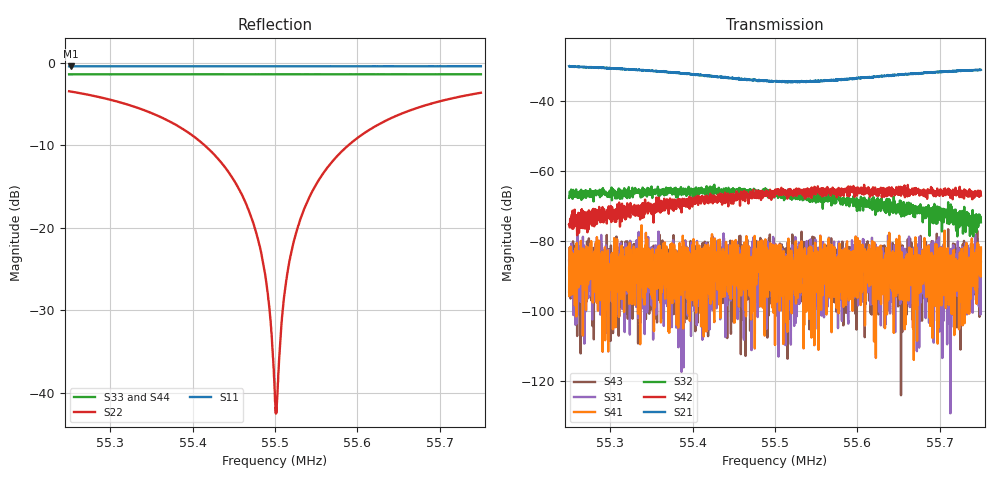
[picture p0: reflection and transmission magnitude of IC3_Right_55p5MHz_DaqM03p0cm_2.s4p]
#  HZ  S  DB  R  50.00
! Rohde & Schwarz Vector Network Analyzer
! Rohde-Schwarz,ZNB8-4Port,1311601044102961,2.82
! Created: UTC 2/13/2019, 12:13:58 PM
! freq[Hz]  db:S11  ang:S11  db:S12  ang:S12  db:S13  ang:S13  db:S14  ang:S14
!  db:S21  ang:S21  db:S22  ang:S22  db:S23  ang:S23  db:S24  ang:S24
!  db:S31  ang:S31  db:S32  ang:S32  db:S33  ang:S33  db:S34  ang:S34
!  db:S41  ang:S41  db:S42  ang:S42  db:S43  ang:S43  db:S44  ang:S44
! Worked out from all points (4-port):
!   2001 points, 55.25 MHz to 55.75 MHz, reference 50 ohm
!   strongest paths, dB at 55.25 MHz, 55.375 MHz, 55.5 MHz, 55.625 MHz, 55.75 MHz:
!     S21: -30.1, -31.9, -34.4, -33.2, -31.2
!     S42: -75.3, -69.5, -65.7, -65.2, -67.1
!     S32: -67.7, -66.3, -66.0, -68.6, -74.7
!     S41: -87.7, -92.4, -109.7, -90.8, -81.9
!     S31: -94.5, -90.4, -92.7, -86.7, -86.0
!     S43: -85.7, -90.9, -90.7, -92.7, -82.5
!   lowest |S11| = -0.5 dB at 55.2518 MHz (marker M1), VSWR 38.26, Z = 2.32 + j43.9 ohm
!   |S11| at or under -10 dB: nowhere
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5.525e7  -0.45 97.4  -30.12 68.9  -87.87 8.4  -88.02 -61.4
         -30.12 69.1  -3.46 -152.1  -66.32 -166.9  -77.91 -5.6
         -94.55 38.4  -67.72 -167.2  -1.42 24.8  -97.61 109.8
         -87.71 -74.3  -75.29 -22.2  -85.66 -78.0  -1.43 31.2
5.525175e7  -0.45 97.4  -30.21 68.5  -83.18 166.0  -78.30 66.3
            -30.26 69.3  -3.49 -152.4  -66.83 -174.8  -78.25 -7.5
            -87.37 -82.8  -67.41 -174.3  -1.42 24.7  -82.26 -167.2
            -90.60 -126.4  -75.18 -13.0  -96.47 105.9  -1.43 31.2
5.544525e7  -0.43 93.7  -33.54 61.8  -86.17 -75.9  -94.25 33.0
            -33.45 63.7  -13.48 161.2  -64.82 166.6  -67.09 -43.9
            -82.33 -48.5  -65.81 150.7  -1.40 22.3  -84.15 -0.7
            -84.39 123.5  -67.79 -44.4  -94.19 85.8  -1.42 28.8
5.548375e7  -0.44 93.0  -34.22 68.8  -90.16 39.1  -86.85 87.2
            -34.24 67.3  -23.28 145.7  -65.38 141.8  -66.66 -51.8
            -90.51 156.1  -66.88 148.0  -1.41 21.8  -89.47 -48.3
            -90.39 -41.4  -65.71 -54.9  -93.38 -26.2  -1.42 28.3
5.550125e7  -0.43 92.7  -34.40 70.6  -83.23 75.8  -83.70 147.0
            -34.48 71.7  -41.70 60.8  -67.72 136.5  -66.26 -61.5
            -82.62 126.6  -66.86 144.7  -1.40 21.6  -87.49 150.5
            -81.10 -143.4  -66.59 -57.6  -93.12 -65.4  -1.42 28.2
5.55565e7  -0.43 91.7  -34.29 80.7  -85.69 -34.9  -86.74 74.4
           -34.32 81.2  -13.70 -47.6  -69.30 135.9  -65.93 -78.0
           -101.37 177.3  -67.53 129.2  -1.40 20.9  -100.69 112.9
           -83.58 103.4  -66.14 -81.6  -91.47 -54.0  -1.42 27.4
5.575e7  -0.42 88.2  -31.11 84.1  -87.20 19.3  -84.44 160.7
         -31.16 84.4  -3.64 -93.8  -73.76 81.4  -67.18 -108.0
         -86.02 -130.9  -74.70 89.1  -1.40 18.5  -84.03 173.6
         -81.93 22.2  -67.06 -118.7  -82.54 148.9  -1.42 25.0
